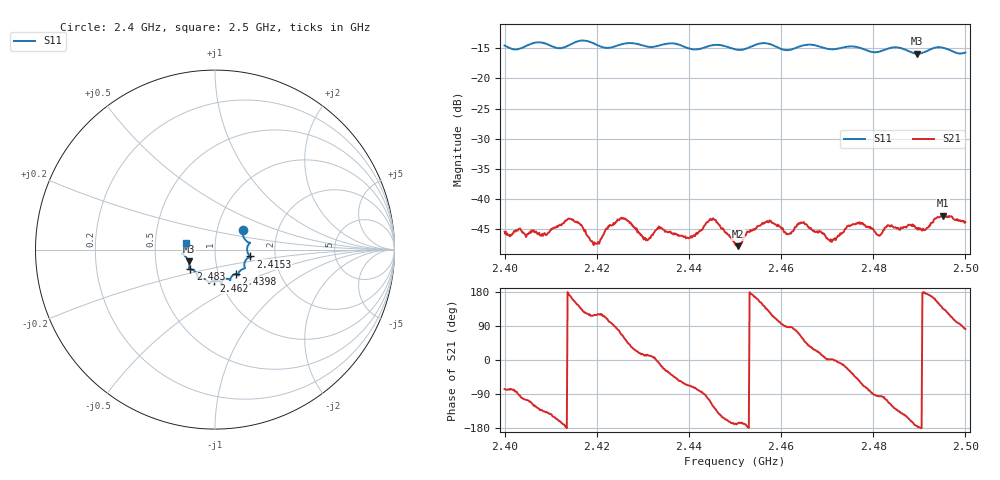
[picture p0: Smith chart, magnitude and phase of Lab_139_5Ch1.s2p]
# Hz S RI R 50
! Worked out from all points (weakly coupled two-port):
!   601 points, 2.4 GHz to 2.5 GHz, reference 50 ohm
!   highest |S21| = -42.80 dB at 2.4952 GHz (marker M1); lowest = -47.9 dB at 2.4507 GHz (marker M2)
!   lowest |S11| = -15.9 dB at 2.4895 GHz (marker M3), VSWR 1.38, Z = 36.9 - j5 ohm
!   |S11| at or under -10 dB: start of sweep to end of sweep
!   S12 and S22 are empty: the file has one direction only
!   S11 on the Smith chart (normalised r, x): 2.4 GHz: 1.33, +0.29; 2.4153 GHz: 1.48, -0.12; 2.4398 GHz: 1.21, -0.34; 2.462 GHz: 0.93, -0.33; 2.483 GHz: 0.74, -0.17; 2.5 GHz: 0.72, +0.06
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2.4e9  0.1549 0.1064  0.00122 -0.00516  0 0  0 0
2.415333e9  0.1966 -0.0384  -0.0057 0.00294  0 0  0 0
2.416667e9  0.2024 -0.0425  -0.00421 0.00435  0 0  0 0
2.419667e9  0.1879 -0.0444  -0.00207 0.00373  0 0  0 0
2.425167e9  0.1652 -0.097  0.00231 0.00646  0 0  0 0
2.430667e9  0.1462 -0.1134  0.00437 0.00108  0 0  0 0
2.433333e9  0.1309 -0.1336  0.00561 -0.000556  0 0  0 0
2.439833e9  0.1152 -0.1362  0.00182 -0.00433  0 0  0 0
2.445167e9  0.0848 -0.1692  -0.00352 -0.00586  0 0  0 0
2.45e9  0.0647 -0.1624  -0.00419 -0.000889  0 0  0 0
2.450667e9  0.0573 -0.1632  -0.00393 -0.000907  0 0  0 0
2.457167e9  0.039 -0.1913  -0.00416 0.00484  0 0  0 0
2.462e9  -0.00506 -0.1733  0.000288 0.00515  0 0  0 0
2.466667e9  -0.0341 -0.1877  0.0046 0.00304  0 0  0 0
2.471e9  -0.0584 -0.165  0.00437 0.000146  0 0  0 0
2.476167e9  -0.0946 -0.1573  0.00433 -0.00433  0 0  0 0
2.481167e9  -0.1206 -0.1148  -0.000427 -0.00492  0 0  0 0
2.483e9  -0.1375 -0.1097  -0.00168 -0.0057  0 0  0 0
2.483333e9  -0.14 -0.1095  -0.00231 -0.00551  0 0  0 0
2.4895e9  -0.1464 -0.066  -0.00567 -0.000591  0 0  0 0
2.495167e9  -0.1791 -0.0188  -0.00517 0.00508  0 0  0 0
2.5e9  -0.1596 0.0392  0.000925 0.00632  0 0  0 0
